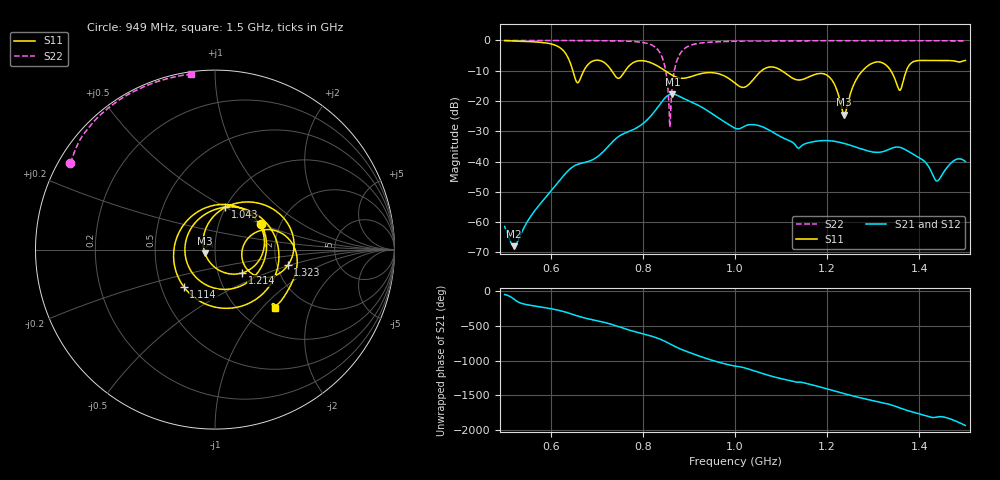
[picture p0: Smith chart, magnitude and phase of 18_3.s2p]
! TOUCHSTONE file generated by CST MICROWAVE STUDIO
! Date and time: Fri Dec 11 14:11:25 2020
! Project name: Scenario_1_Planar_Body_Tissue_Out_of_Line_v2.cst
! Parameters = {dy1=-51.9; L_HA=400; Ltissue=700; MT=2.54; Rad_Dielectric=30; Rad_Lower=7.3; Rad_Upper=30; Wtissue=700; a_HA=580; a_WG=246; b_HA=500; b_WG=121; c_HA=0; c_WG=187; d_feed=85; dx1=520; h_feed=15; h_lower=18; h_upper=40; hfat=3; hgap=25; hmuscle=50; hskin=1.5}
! Header version: 2018
! Port assignment regex: !\s*Touchstone port\s*([0-9]+)\s*=\s*(CST MWS port|CST DS port)\s*([0-9]+|Zmin|Zmax)\s*\(\"(.*)\"\)(\s*mode\s*([0-9]+))?.*
! Touchstone port assignment:
! Touchstone port 1 = CST MWS port 1 ("")
! Touchstone port 2 = CST MWS port 2 ("")
# GHz S DB R 50
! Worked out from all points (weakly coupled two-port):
!   1003 points, 500 MHz to 1.5 GHz, reference 50 ohm
!   highest |S21| = -17.71 dB at 864 MHz (marker M1); lowest = -67.9 dB at 520 MHz (marker M2)
!   lowest |S11| = -24.5 dB at 1.237 GHz (marker M3), VSWR 1.13, Z = 44.7 - j1.76 ohm
!   |S11| at or under -10 dB: 848.3 MHz to 1.058 GHz (209.2 MHz wide, 22 % of centre); 1.101 GHz to 1.277 GHz (175.2 MHz wide, 14.7 % of centre); 1.338 GHz to 1.372 GHz (33.68 MHz wide, 2.49 % of centre)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
!   |S22| runs from -28.7 to 0.0 dB; largest |S21 - S12| = 1.1e-05
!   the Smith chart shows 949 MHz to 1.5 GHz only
!   S11 on the Smith chart (normalised r, x): 949 MHz: 1.59, +0.50; 1.043 GHz: 0.99, +0.50; 1.114 GHz: 0.65, -0.29; 1.214 GHz: 1.31, -0.35; 1.323 GHz: 2.29, -0.49; 1.5 GHz: 1.42, -1.19
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0.5  -0.08 -122.0  -61.44 -48.4  -61.44 -48.4  -0.01 151.1
0.52  -0.18 -129.7  -67.94 -114.4  -67.90 -114.4  -0.01 149.8
0.629  -3.63 147.3  -44.47 64.8  -44.47 64.8  -0.03 141.8
0.667  -11.65 179.1  -40.54 -13.9  -40.54 -13.9  -0.04 138.4
0.716  -7.28 105.5  -36.42 -88.5  -36.42 -88.5  -0.09 132.9
0.741  -11.93 8.4  -32.49 -136.9  -32.49 -136.9  -0.14 129.1
0.786  -6.89 166.4  -28.92 130.9  -28.92 130.9  -0.42 118.4
0.834  -8.62 43.7  -21.72 38.5  -21.72 38.5  -3.35 84.8
0.864  -11.50 -48.1  -17.71 -57.8  -17.71 -57.8  -14.76 -135.8
0.885  -12.51 -126.0  -18.90 -122.2  -18.90 -122.2  -3.51 -176.8
0.949  -10.63 29.1  -24.08 87.3  -24.08 87.3  -0.56 149.1
1  -14.11 -111.4  -28.98 1.7  -28.98 1.7  -0.26 140.3
1.043  -12.31 76.8  -27.85 -70.4  -27.85 -70.4  -0.18 135.2
1.073  -8.82 -13.3  -29.52 -132.5  -29.52 -132.5  -0.14 132.2
1.114  -11.36 -130.0  -32.85 159.4  -32.85 159.4  -0.12 128.5
1.167  -11.60 71.0  -33.53 91.8  -33.53 91.8  -0.10 124.2
1.214  -13.97 -40.3  -33.27 6.4  -33.27 6.4  -0.08 120.6
1.237  -24.53 -160.7  -34.02 -35.7  -34.02 -35.7  -0.08 118.8
1.323  -7.64 -12.2  -36.64 -169.5  -36.64 -169.5  -0.08 112.4
1.334  -9.12 -25.6  -35.99 172.1  -35.99 172.1  -0.08 111.5
1.438  -6.64 -30.9  -46.42 -12.3  -46.42 -12.3  -0.10 103.3
1.5  -6.60 -44.3  -40.00 -133.6  -40.00 -133.6  -0.13 98.0
